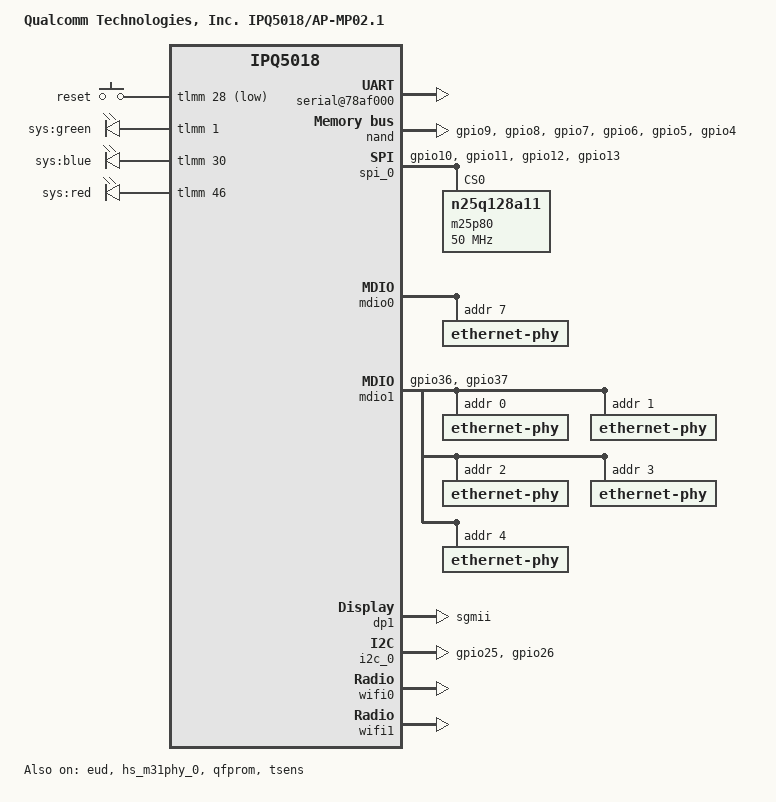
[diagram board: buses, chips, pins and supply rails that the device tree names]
/dts-v1/;
/* Copyright (c) 2018-2020, The Linux Foundation. All rights reserved.
 *
 * Permission to use, copy, modify, and/or distribute this software for any
 * purpose with or without fee is hereby granted, provided that the above
 * copyright notice and this permission notice appear in all copies.
 *
 * THE SOFTWARE IS PROVIDED "AS IS" AND THE AUTHOR DISCLAIMS ALL WARRANTIES
 * WITH REGARD TO THIS SOFTWARE INCLUDING ALL IMPLIED WARRANTIES OF
 * MERCHANTABILITY AND FITNESS. IN NO EVENT SHALL THE AUTHOR BE LIABLE FOR
 * ANY SPECIAL, DIRECT, INDIRECT, OR CONSEQUENTIAL DAMAGES OR ANY DAMAGES
 * WHATSOEVER RESULTING FROM LOSS OF USE, DATA OR PROFITS, WHETHER IN AN
 * ACTION OF CONTRACT, NEGLIGENCE OR OTHER TORTIOUS ACTION, ARISING OUT OF
 * OR IN CONNECTION WITH THE USE OR PERFORMANCE OF THIS SOFTWARE.
 */

#include "qcom-ipq5018.dtsi"

/ {
	#address-cells = <0x2>;
	#size-cells = <0x2>;
	model = "Qualcomm Technologies, Inc. IPQ5018/AP-MP02.1";
	compatible = "qcom,ipq5018-mp02.1", "qcom,ipq5018";
	interrupt-parent = <&intc>;

	MP_256;
	/delete-property/ MP_512;

	aliases {
		sdhc1 = &sdhc_1; /* SDC1 eMMC slot */
		serial0 = &blsp1_uart1;
		//serial1 = &blsp1_uart2;
		ethernet0 = "/soc/dp1";
		ethernet1 = "/soc/dp2";
	};

	chosen {
		bootargs = "console=ttyMSM0,115200,n8 rw init=/init";

		bootargs-append = " swiotlb=1";
		stdout-path = "serial0";
	};

	/*            256 MB Profile
	 * +=========+==============+========================+
	 * |        |              |                         |
	 * | Region | Start Offset |          Size           |
	 * |        |              |                         |
	 * +--------+--------------+-------------------------+
	 * |        |              |                         |
	 * |        |              |                         |
	 * |  NSS   |  0x40000000  |          8MB           |
	 * |        |              |                         |
	 * |        |              |                         |
	 * +--------+--------------+-------------------------+
	 * |        |              |                         |
	 * |        |              |                         |
	 * |        |              |                         |
	 * |        |              |                         |
	 * | Linux  |  0x40800000  | Depends on total memory |
	 * |        |              |                         |
	 * |        |              |                         |
	 * |        |              |                         |
	 * +        |              |                         |
	 * +--------+--------------+-------------------------+
	 * |        |              |                         |
	 * | uboot  |  0x4A600000  |           4MB           |
	 * |        |              |                         |
	 * +--------+--------------+-------------------------+
	 * |  SBL   |  0x4AA00000  |           1MB           |
	 * +--------+--------------+-------------------------+
	 * |  smem  |  0x4AB00000  |           1MB           |
	 * +--------+--------------+-------------------------+
	 * |        |              |                         |
	 * |   TZ   |  0x4AC00000  |           4MB           |
	 * |        |              |                         |
	 * +--------+--------------+-------------------------+
	 * |        |              |                         |
	 * |        |              |                         |
	 * |        |              |                         |
	 * |   Q6   |  0x4B000000  |          20MB           |
	 * |  code/ |              |                         |
	 * |  data  |              |                         |
	 * +--------+--------------+-------------------------+
	 * |        |              |                         |
	 * |IPQ5018 |  0x4C400000  |          13MB           |
	 * |  data  |              |                         |
	 * +--------+--------------+-------------------------+
	 * | M3 Dump|  0x4D100000  |           1MB           |
	 * +--------+--------------+-------------------------+
	 * |  QDSS  |  0x4D200000  |           1MB           |
	 * +--------+--------------+-------------------------+
	 * |QCN6122 |  0x4D300000  |          15MB           |
	 * |  data  |              |                         |
	 * +--------+--------------+-------------------------+
	 * | M3 Dump|  0x4E200000  |           1MB           |
	 * +--------+--------------+-------------------------+
	 * |  QDSS  |  0x4E300000  |           1MB           |
	 * +--------+--------------+-------------------------+
	 * |QCN6122 |  0x4E400000  |          15MB           |
	 * |  data  |              |                         |
	 * +--------+--------------+-------------------------+
	 * | M3 Dump|  0x4F300000  |           1MB           |
	 * +--------+--------------+-------------------------+
	 * |  QDSS  |  0x4F400000  |           1MB           |
	 * +--------+--------------+-------------------------+
	 * |                                                 |
	 * |      Rest of the memory for Linux               |
	 * |                                                 |
	 * +=================================================+
	 */
	reserved-memory {
		/delete-node/ nss@40000000;

		nss@40000000 {
			no-map;
			reg = <0x0 0x40000000 0x0 0x0800000>;
		};

		q6_mem_regions: q6_mem_regions@4B000000 {
			no-map;
			reg = <0x0 0x4B000000 0x0 0x4500000>;
		};

		q6_code_data: q6_code_data@4B000000 {
			no-map;
			reg = <0x0 0x4B000000 0x0 0x1400000>;
		};

		q6_ipq5018_data: q6_ipq5018_data@4C400000 {
			no-map;
			reg = <0x0 0x4C400000 0x0 0xD00000>;
		};

		m3_dump: m3_dump@4D100000 {
			no-map;
			reg = <0x0 0x4D100000 0x0 0x100000>;
		};

		q6_etr_region: q6_etr_dump@4D200000 {
			no-map;
			reg = <0x0 0x4D200000 0x0 0x100000>;
		};

		q6_qcn6122_data1: q6_qcn6122_data1@4D300000 {
			no-map;
			reg = <0x0 0x4D300000 0x0 0xF00000>;
		};

		m3_dump_qcn6122_1: m3_dump_qcn6122_1@4E200000 {
			no-map;
			reg = <0x0 0x4E200000 0x0 0x100000>;
		};

		q6_qcn6122_etr_1: q6_qcn6122_etr_1@4E300000 {
			no-map;
			reg = <0x0 0x4E300000 0x0 0x100000>;
		};

		q6_qcn6122_data2: q6_qcn6122_data2@4E400000 {
			no-map;
			reg = <0x0 0x4E400000 0x0 0xF00000>;
		};

		m3_dump_qcn6122_2: m3_dump_qcn6122_2@4F300000 {
			no-map;
			reg = <0x0 0x4F300000 0x0 0x100000>;
		};

		q6_qcn6122_etr_2: q6_qcn6122_etr_2@4F400000 {
			no-map;
			reg = <0x0 0x4F400000 0x0 0x100000>;
		};
	};

	soc {
		serial@78af000 {
			status = "ok";
		};

		/*
		blsp1_uart2: serial@78b0000 {
			pinctrl-0 = <&blsp1_uart_pins>;
			pinctrl-names = "default";
		};
		*/

		qpic_bam: dma@7984000{
			status = "ok";
		};

		nand: qpic-nand@79b0000 {
			pinctrl-0 = <&qspi_nand_pins>;
			pinctrl-names = "default";
			status = "ok";
		};

		spi_0: spi@78b5000 { /* BLSP1 QUP0 */
			pinctrl-0 = <&blsp0_spi_pins>;
			pinctrl-names = "default";
			cs-select = <0>;
			status = "ok";

			m25p80@0 {
				#address-cells = <1>;
				#size-cells = <1>;
				reg = <0>;
				compatible = "n25q128a11";
				linux,modalias = "m25p80", "n25q128a11";
				spi-max-frequency = <50000000>;
				use-default-sizes;
			};
		};

		mdio0: mdio@88000 {
			status = "ok";

			ethernet-phy@0 {
				reg = <7>;
			};
		};

		mdio1: mdio@90000 {
			status = "ok";
			pinctrl-0 = <&mdio1_pins>;
			pinctrl-names = "default";
			phy-reset-gpio = <&tlmm 38 0>;

			ethernet-phy@0 {
				reg = <0>;
			};

			ethernet-phy@1 {
				reg = <1>;
			};

			ethernet-phy@2 {
				reg = <2>;
			};

			ethernet-phy@3 {
				reg = <3>;
			};

			ethernet-phy@4 {
				reg = <4>;
			};
		};

		ess-instance {
			num_devices = <0x2>;
			ess-switch@0x39c00000 {
				compatible = "qcom,ess-switch-ipq50xx";
				device_id = <0>;
				switch_mac_mode = <0xf>; /* mac mode for uniphy instance*/
				cmnblk_clk = "internal_96MHz"; /* cmnblk clk*/
				qcom,port_phyinfo {
					port@0 {
						port_id = <1>;
						phy_address = <7>;
					//	mdiobus = <&mdio0>;
					};
					port@1 {
						port_id = <2>;
						forced-speed = <1000>;
						forced-duplex = <1>;
					};
				};
				led_source@0 {
					source = <0>;
					mode = "normal";
					speed = "all";
					blink_en = "enable";
					active = "low";
				};
			};

			ess-switch1@1 {
				compatible = "qcom,ess-switch-qca83xx";
				device_id = <1>;
				switch_access_mode = "mdio";
				mdio-bus = <&mdio1>;
				reset_gpio = <0x26>;
				switch_cpu_bmp = <0x40>;  /* cpu port bitmap (Port 6 GMAC) */
				switch_lan_bmp = <0x1e>; /* lan port bitmap */
				switch_wan_bmp = <0x0>;  /* wan port bitmap */
				qca,ar8327-initvals = <
						0x00004 0x7600000   /* PAD0_MODE */
						0x00008 0x1000000   /* PAD5_MODE */
						0x0000c 0x80        /* PAD6_MODE */
						0x00010 0x2613a0    /* PORT6 FORCE MODE*/
						0x000e4 0xaa545     /* MAC_POWER_SEL */
						0x000e0 0xc74164de  /* SGMII_CTRL */
						0x0007c 0x4e        /* PORT0_STATUS */
						0x00094 0x4e        /* PORT6_STATUS */
				>;
				qcom,port_phyinfo {
					port@0 {
						port_id = <1>;
						phy_address = <0>;
					};
					port@1 {
						port_id = <2>;
						phy_address = <1>;
					};
					port@2 {
						port_id = <3>;
						phy_address = <2>;
					};
					port@3 {
						port_id = <4>;
						phy_address = <3>;
					};
				};
			};
		};

		qcom_q6v5_wcss@CD00000 {
			memory-region = <&q6_mem_regions>;
		};


		dp1 {
			device_type = "network";
			compatible = "qcom,nss-dp";
			clocks = <&gcc GCC_SNOC_GMAC1_AXI_CLK>;
			clock-names = "nss-snoc-gmac-axi-clk";
			qcom,id = <2>;
			reg = <0x39D00000 0x10000>;
			interrupts = <GIC_SPI 109 IRQ_TYPE_LEVEL_HIGH>;
			qcom,mactype = <2>;
			local-mac-address = [000000000000];
			phy-mode = "sgmii";
		};

		qcom,test@0 {
			status = "ok";
		};
	};

	thermal-zones {
		status = "ok";
	};
};

&sdhc_1 {
	status = "disabled";
};

&tlmm {
	pinctrl-0 = <&blsp0_uart_pins>;
	pinctrl-names = "default";

	blsp0_uart_pins: blsp0_uart_pins {
		blsp0_uart_rx_tx {
			pins = "gpio20", "gpio21";
			function = "blsp0_uart0";
			bias-disable;
		};
	};

	/*
	blsp1_uart_pins: blsp1_uart_pins {
		blsp1_uart_rx {
			pins = "gpio23";
			function = "blsp1_uart2";
			drive-strength = <8>;
			input-enable;
			bias-disable;
			bias-pull-up;
		};
		blsp1_uart_tx {
			pins = "gpio25";
			function = "blsp1_uart2";
			drive-strength = <8>;
			bias-disable;
			output-high;
			bias-pull-up;
		};
		blsp1_uart_rfr {
			pins = "gpio24";
			function = "blsp1_uart2";
			drive-strength = <8>;
			bias-disable;
			output-high;
			bias-pull-up;
		};
		blsp1_uart_cts {
			pins = "gpio26";
			function = "blsp1_uart2";
			drive-strength = <8>;
			bias-disable;
			input-enable;
			bias-pull-up;
		};
	};
	*/

	blsp0_spi_pins: blsp0_spi_pins {
		mux {
			pins = "gpio10", "gpio11", "gpio12", "gpio13";
			function = "blsp0_spi";
			drive-strength = <2>;
			bias-disable;
		};
	};

	/*
	phy_pins: phy_pins {
		phy_intr {
			pins = "gpio25";
			function = "gpio";
			drive-strength = <8>;
			bias-disable;
		};
		phy_reset {
			pins = "gpio26";
			function = "gpio";
			drive-strength = <8>;
			bias-pull-down;
			output-low;
		};
	};
	*/

	mdio1_pins: mdio_pinmux {
		mux_0 {
			pins = "gpio36";
			function = "mdc";
			drive-strength = <8>;
			bias-pull-up;
		};

		mux_1 {
			pins = "gpio37";
			function = "mdio";
			drive-strength = <8>;
			bias-pull-up;
		};
	};

	i2c_pins: i2c_pins {
		i2c_scl {
			pins = "gpio25";
			function = "blsp2_i2c1";
			drive-strength = <8>;
			bias-disable;
		};

		i2c_sda {
			pins = "gpio26";
			function = "blsp2_i2c1";
			drive-strength = <8>;
			bias-disable;
		};
	};

	qspi_nand_pins: qspi_nand_pins {
		qspi_clock {
			pins = "gpio9";
			function = "qspi_clk";
			drive-strength = <8>;
			bias-disable;
		};
		qspi_cs {
			pins = "gpio8";
			function = "qspi_cs";
			drive-strength = <8>;
			bias-disable;
		};
		qspi_data_0 {
			pins = "gpio7";
			function = "qspi0";
			drive-strength = <8>;
			bias-disable;
		};
		qspi_data_1 {
			pins = "gpio6";
			function = "qspi1";
			drive-strength = <8>;
			bias-disable;
		};
		qspi_data_2 {
			pins = "gpio5";
			function = "qspi2";
			drive-strength = <8>;
			bias-disable;
		};
		qspi_data_3 {
			pins = "gpio4";
			function = "qspi3";
			drive-strength = <8>;
			bias-disable;
		};
	};

	button_pins: button_pins {
		reset_button {
			pins = "gpio28";
			function = "gpio";
			drive-strength = <8>;
			bias-pull-up;
		};
	};

	poe_pins: poe_pinmux {
		/*
			LAN port PoE output enable
			H --> enable; L --> disable (Default setting to H)
		*/
		mux_0 {
			pins = "gpio24";
			function = "gpio";
			drive-strength = <2>;
			bias-pull-up;
			output-high;
		};

		mux_1 { /* PSE_INT_N */
			pins = "gpio27";
			function = "gpio";
			bias-pull-up;
			input;
		};
	};

	leds_pins: leds_pinmux {
		sys_green {
			pins = "gpio1";
			function = "gpio";
			drive-strength = <8>;
			bias-disable;
		};

		sys_blue {
			pins = "gpio30";
			function = "gpio";
			drive-strength = <8>;
			bias-pull-up;
		};

		sys_red {
			pins = "gpio46";
			function = "gpio";
			drive-strength = <8>;
			bias-disable;
		};
	};
};

&soc {
	gpio_keys {
		compatible = "gpio-keys";
		pinctrl-0 = <&button_pins>;
		pinctrl-names = "default";

		button@1 {
			label = "reset";
			linux,code = <KEY_RESTART>;
			gpios = <&tlmm 28 GPIO_ACTIVE_LOW>;
			linux,input-type = <1>;
			debounce-interval = <60>;
		};
	};

	gpio_leds {
		compatible = "gpio-leds";
		pinctrl-0 = <&leds_pins>;
		pinctrl-names = "default";

		led@1 {
			label = "sys:green";
			gpios = <&tlmm 1 GPIO_ACTIVE_HIGH>;  /* GPIO_1/ATST_QP0 */
			default-state="off";
		/*	linux,default-trigger = "timer";
			active-delay = <700>;
			inactive-delay = <700>;
			default-state="on";		*/
		};

		led@30 {
			label = "sys:blue";
			gpios = <&tlmm 30 GPIO_ACTIVE_HIGH>;  /* GPIO_30 */
			default-state="on";
		/*	linux,default-trigger = "timer";
			active-delay = <700>;
			inactive-delay = <700>;
			default-state="on";		*/
		};

		led@46 {
			label = "sys:red";
			gpios = <&tlmm 46 GPIO_ACTIVE_HIGH>;  /* GPIO_46 */
			default-state="off";
		/*	linux,default-trigger = "timer";
			active-delay = <700>;
			inactive-delay = <700>;
			default-state="on";		*/
		};
	};
};

&usb3 {
	status = "disabled";
};

&eud {
	status = "ok";
};

&pcie_x1 {
	status = "disabled";
	perst-gpio = <&tlmm 27 1>;
};

&pcie_x2 {
	status = "disabled";
	perst-gpio = <&tlmm 15 1>;
};

&dwc_0 {
	/delete-property/ #phy-cells;
	/delete-property/ phys;
	/delete-property/ phy-names;
};

&hs_m31phy_0 {
	status = "ok";
};

&pcie_x1phy {
	status = "disabled";
};

&pcie_x2phy {
	status = "disabled";
};

&pcie_x1_rp {
	status = "disabled";

	mhi_0: qcom,mhi@0 {
		reg = <0 0 0 0 0 >;
	};
};

&pcie_x2_rp {
	status = "disabled";

	mhi_1: qcom,mhi@1 {
		reg = <0 0 0 0 0 >;
	};
};

&qfprom {
	status = "ok";
};

&tsens {
	status = "ok";
};

&qcom_q6v5_wcss {
	qcom,multipd_arch;
	qcom,share_bootargs;
	qcom,bootargs_smem = <507>;
	/* Please refer the IPQ50xx SoC Software doc to define pcie reset pin */
	boot-args = <0x1 0x4 0x3 0x0F 0x0 0x0>,
			<0x2 0x4 0x2 0x0F 0x0 0x0>;

	/* IPQ5018 */
	q6v5_wcss_userpd1 {
		m3_firmware = "IPQ5018/m3_fw.mdt";
		interrupts-extended = <&wcss_smp2p_in 8 0>,
			<&wcss_smp2p_in 9 0>,
			<&wcss_smp2p_in 12 0>,
			<&wcss_smp2p_in 11 0>;
		interrupt-names ="fatal",
			"ready",
			"spawn_ack",
			"stop-ack";
		qcom,smem-states = <&wcss_smp2p_out 8>,
			<&wcss_smp2p_out 9>,
			<&wcss_smp2p_out 10>;
		qcom,smem-state-names = "shutdown",
			"stop",
			"spawn";
		qca,asid = <1>;
		qca,auto-restart;
		qca,int_radio;
		memory-region = <&q6_ipq5018_data>, <&m3_dump>,
				<&q6_etr_region>;
	};

	/* QCN6122 6G */
	q6v5_wcss_userpd2 {
		m3_firmware = "qcn6122/m3_fw.mdt";
		interrupts-extended = <&wcss_smp2p_in 16 0>,
			<&wcss_smp2p_in 17 0>,
			<&wcss_smp2p_in 20 0>,
			<&wcss_smp2p_in 19 0>;
		interrupt-names ="fatal",
			"ready",
			"spawn_ack",
			"stop-ack";
		qcom,smem-states = <&wcss_smp2p_out 16>,
			<&wcss_smp2p_out 17>,
			<&wcss_smp2p_out 18>;
		qcom,smem-state-names = "shutdown",
			"stop",
			"spawn";
		qca,asid = <2>;
		qca,auto-restart;
		memory-region = <&q6_qcn6122_data1>, <&m3_dump_qcn6122_1>,
				<&q6_qcn6122_etr_1>;
	};

	/* QCN6122 5G */
	q6v5_wcss_userpd3 {
		m3_firmware = "qcn6122/m3_fw.mdt";
		interrupts-extended = <&wcss_smp2p_in 24 0>,
			<&wcss_smp2p_in 25 0>,
			<&wcss_smp2p_in 28 0>,
			<&wcss_smp2p_in 27 0>;
		interrupt-names ="fatal",
			"ready",
			"spawn_ack",
			"stop-ack";
		qcom,smem-states = <&wcss_smp2p_out 24>,
			<&wcss_smp2p_out 25>,
			<&wcss_smp2p_out 26>;
		qcom,smem-state-names = "shutdown",
			"stop",
			"spawn";
		qca,asid = <3>;
		qca,auto-restart;
		memory-region = <&q6_qcn6122_data2>, <&m3_dump_qcn6122_2>,
				<&q6_qcn6122_etr_2>;
	};
};

&i2c_0 {
	pinctrl-0 = <&i2c_pins>;
	pinctrl-names = "default";
	status = "ok";
};

&qgic_msi_0 {
	status = "ok";
};

&qgic_msi_1 {
	status = "ok";
};


&wifi0 {
	/* IPQ5018  24G*/
	qcom,multipd_arch;
	qcom,userpd-subsys-name = "q6v5_wcss_userpd1";
	qcom,tgt-mem-mode = <2>;
	qcom,board_id = <0x24>;
	qcom,bdf-addr = <0x4C400000 0x4C400000 0x4C400000 0x0 0x0>;
	qcom,caldb-addr = <0x4D400000>;
	qcom,caldb-size = <0x200000>;
	nss-radio-priority = <0>;
	m3-dump-addr = <0x4D200000>;
	mem-region = <&q6_ipq5018_data>;

	status = "ok";
};

&wifi1 {
	/* QCN6122 5G */
	qcom,multipd_arch;
	qcom,userpd-subsys-name = "q6v5_wcss_userpd2";
	qcom,tgt-mem-mode = <2>;
	qcom,board_id = <0x60>;
	qcom,bdf-addr = <0x4D600000 0x4D600000 0x4D300000 0x0 0x0>;
	qcom,caldb-addr = <0x4E800000>;
	m3-dump-addr = <0x4E600000>;
	nss-radio-priority = <1>;
	mem-region = <&q6_qcn6122_data1>;
	qcom,caldb-size = <0x500000>;
	status = "ok";
};

&wifi2 {
	status = "disabled";
};

